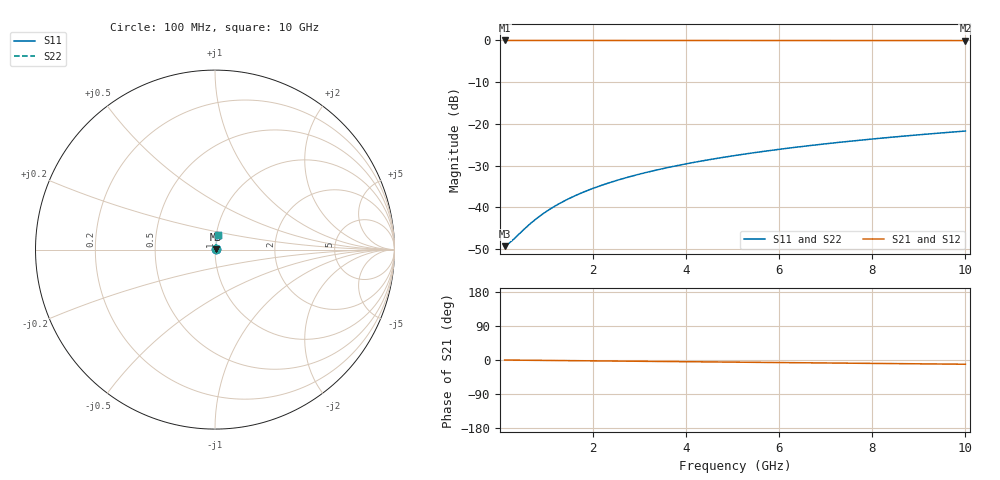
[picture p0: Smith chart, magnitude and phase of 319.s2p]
# Hz S RI R 50.00
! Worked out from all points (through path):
!   100 points, 100 MHz to 10 GHz, reference 50 ohm
!   highest |S21| = -0.03 dB at 100 MHz (marker M1); lowest = -0.1 dB at 10 GHz (marker M2)
!   group delay of S21, straight-line fit = 3.11 ps
!   lowest |S11| = -49.3 dB at 100 MHz (marker M3), VSWR 1.01, Z = 50.3 + j0.0823 ohm
!   |S11| at or under -10 dB: start of sweep to end of sweep
!   |S22| runs from -49.3 to -21.7 dB; largest |S21 - S12| = 0
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1e8  0.00332 0.000818  0.9967 -0.00195  0.9967 -0.00195  0.00332 0.000818
2e8  0.00334 0.00164  0.9967 -0.00389  0.9967 -0.00389  0.00334 0.00164
3e8  0.00337 0.00245  0.9966 -0.00584  0.9966 -0.00584  0.00337 0.00245
6e8  0.00344 0.0049  0.9965 -0.0117  0.9965 -0.0117  0.00344 0.0049
7e8  0.00347 0.00572  0.9965 -0.0136  0.9965 -0.0136  0.00347 0.00572
8e8  0.0035 0.00654  0.9964 -0.0156  0.9964 -0.0156  0.0035 0.00654
1e9  0.00358 0.00817  0.9963 -0.0195  0.9963 -0.0195  0.00358 0.00817
1.2e9  0.00366 0.0098  0.9962 -0.0234  0.9962 -0.0234  0.00366 0.0098
1.4e9  0.00375 0.0114  0.9961 -0.0272  0.9961 -0.0272  0.00375 0.0114
1.6e9  0.00386 0.0131  0.996 -0.0311  0.996 -0.0311  0.00386 0.0131
1.8e9  0.00397 0.0147  0.9958 -0.035  0.9958 -0.035  0.00397 0.0147
2.1e9  0.00417 0.0171  0.9955 -0.0409  0.9955 -0.0409  0.00417 0.0171
2.5e9  0.00448 0.0204  0.9951 -0.0486  0.9951 -0.0486  0.00448 0.0204
2.9e9  0.00484 0.0236  0.9946 -0.0564  0.9946 -0.0564  0.00484 0.0236
3.4e9  0.00536 0.0277  0.9939 -0.0661  0.9939 -0.0661  0.00536 0.0277
4.2e9  0.00635 0.0342  0.9925 -0.0816  0.9925 -0.0816  0.00635 0.0342
5.1e9  0.00771 0.0414  0.9906 -0.099  0.9906 -0.099  0.00771 0.0414
5.9e9  0.00912 0.0477  0.9886 -0.1145  0.9886 -0.1145  0.00912 0.0477
6.7e9  0.0107 0.0541  0.9863 -0.1298  0.9863 -0.1298  0.0107 0.0541
7.5e9  0.0125 0.0603  0.9838 -0.1452  0.9838 -0.1452  0.0125 0.0603
8.4e9  0.0148 0.0673  0.9806 -0.1624  0.9806 -0.1624  0.0148 0.0673
1e10  0.0195 0.0795  0.974 -0.1927  0.974 -0.1927  0.0195 0.0795
